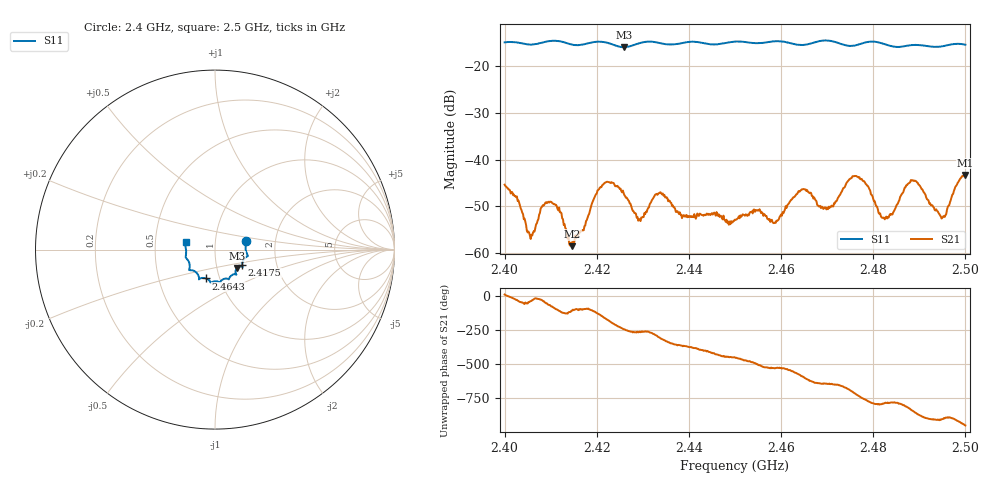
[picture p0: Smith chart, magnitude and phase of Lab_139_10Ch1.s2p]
# Hz S RI R 50
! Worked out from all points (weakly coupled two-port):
!   601 points, 2.4 GHz to 2.5 GHz, reference 50 ohm
!   highest |S21| = -43.31 dB at 2.5 GHz (marker M1); lowest = -58.5 dB at 2.4147 GHz (marker M2)
!   lowest |S11| = -15.9 dB at 2.4258 GHz (marker M3), VSWR 1.38, Z = 62.3 - j13.2 ohm
!   |S11| at or under -10 dB: start of sweep to end of sweep
!   S12 and S22 are empty: the file has one direction only
!   S11 on the Smith chart (normalised r, x): 2.4 GHz: 1.41, +0.14; 2.4175 GHz: 1.33, -0.23; 2.4643 GHz: 0.86, -0.29; 2.5 GHz: 0.72, +0.06
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2.4e9  0.1732 0.0485  0.00531 0.000867  0 0  0 0
2.4055e9  0.1701 0.00844  0.00113 -0.001  0 0  0 0
2.409833e9  0.1829 -0.0328  0.00132 -0.00329  0 0  0 0
2.414667e9  0.1619 -0.0519  -0.000371 -0.00112  0 0  0 0
2.416667e9  0.1524 -0.0738  -0.000294 -0.00171  0 0  0 0
2.4175e9  0.1513 -0.0835  -0.000226 -0.00196  0 0  0 0
2.421667e9  0.1532 -0.0962  -0.00533 -0.00172  0 0  0 0
2.425833e9  0.1219 -0.103  -0.0019 0.00394  0 0  0 0
2.4295e9  0.1159 -0.1348  -0.000138 0.00219  0 0  0 0
2.433333e9  0.1136 -0.1372  0.00225 0.00371  0 0  0 0
2.438833e9  0.0799 -0.159  0.00253 -0.000246  0 0  0 0
2.45e9  0.0281 -0.1813  -5.75e-05 -0.00227  0 0  0 0
2.455e9  0.0023 -0.1764  -0.00234 -0.00167  0 0  0 0
2.458833e9  -0.0224 -0.1837  -0.00206 -0.000426  0 0  0 0
2.464333e9  -0.05 -0.1608  -0.00324 0.00344  0 0  0 0
2.466667e9  -0.0764 -0.1586  -0.000231 0.00409  0 0  0 0
2.470333e9  -0.0887 -0.1654  0.000841 0.00301  0 0  0 0
2.4765e9  -0.1217 -0.1166  0.00653 -0.000627  0 0  0 0
2.483333e9  -0.1406 -0.0897  0.000984 -0.00218  0 0  0 0
2.488667e9  -0.1622 -0.0459  -0.00333 -0.00498  0 0  0 0
2.495333e9  -0.1639 0.0141  -0.00248 -0.000209  0 0  0 0
2.5e9  -0.1643 0.0432  -0.00448 0.00515  0 0  0 0
